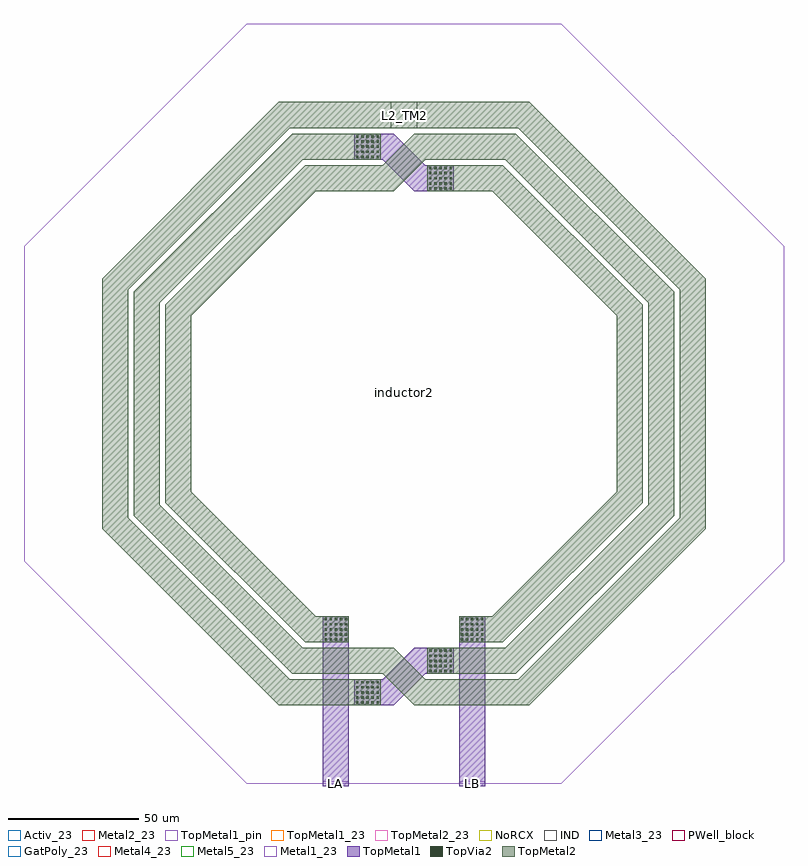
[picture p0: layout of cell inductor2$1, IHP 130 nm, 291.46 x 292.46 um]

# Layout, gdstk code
import gdstk
lib = gdstk.Library(unit=1e-6, precision=1e-09)
def R(c, l, rs):  # rectangles x0, y0, x1, y1
    for r in rs: c.add(gdstk.rectangle(r[:2], r[2:], *l))
def A(c, l, x, y, w, h, nx, ny, dx, dy):  # array of equal rectangles
    R(c, l, [(x+i*dx, y+j*dy, x+i*dx+w, y+j*dy+h) for i in range(nx) for j in range(ny)])
def P(c, l, *ps):  # polygons
    for p in ps: c.add(gdstk.Polygon(p, *l))
Activ_23 = (1, 23)
GatPoly_23 = (5, 23)
Metal1_23 = (8, 23)
Metal2_23 = (10, 23)
IND = (27, 0)
Metal3_23 = (30, 23)
PWell_block = (46, 21)
Metal4_23 = (50, 23)
Metal5_23 = (67, 23)
TopMetal1 = (126, 0)
TopMetal1_pin = (126, 2)
TopMetal1_23 = (126, 23)
TopVia2 = (133, 0)
TopMetal2 = (134, 0)
TopMetal2_23 = (134, 23)
NoRCX = (148, 0)

inductor2_1 = lib.new_cell('inductor2$1')
P(inductor2_1, Activ_23, [(-60.36,0),(-145.73,85.37),(-145.73,206.09),(-60.36,291.46),(60.36,291.46),(145.73,206.09),(145.73,85.37),(60.36,0)])
P(inductor2_1, GatPoly_23, [(-60.36,0),(-145.73,85.37),(-145.73,206.09),(-60.36,291.46),(60.36,291.46),(145.73,206.09),(145.73,85.37),(60.36,0)])
P(inductor2_1, Metal1_23, [(-60.36,0),(-145.73,85.37),(-145.73,206.09),(-60.36,291.46),(60.36,291.46),(145.73,206.09),(145.73,85.37),(60.36,0)])
P(inductor2_1, Metal2_23, [(-60.36,0),(-145.73,85.37),(-145.73,206.09),(-60.36,291.46),(60.36,291.46),(145.73,206.09),(145.73,85.37),(60.36,0)])
R(inductor2_1, IND, [(-5.01,251.43,5.01,261.45)])
P(inductor2_1, Metal3_23, [(-60.36,0),(-145.73,85.37),(-145.73,206.09),(-60.36,291.46),(60.36,291.46),(145.73,206.09),(145.73,85.37),(60.36,0)])
P(inductor2_1, PWell_block, [(-60.36,0),(-145.73,85.37),(-145.73,206.09),(-60.36,291.46),(60.36,291.46),(145.73,206.09),(145.73,85.37),(60.36,0)])
P(inductor2_1, Metal4_23, [(-60.36,0),(-145.73,85.37),(-145.73,206.09),(-60.36,291.46),(60.36,291.46),(145.73,206.09),(145.73,85.37),(60.36,0)])
P(inductor2_1, Metal5_23, [(-60.36,0),(-145.73,85.37),(-145.73,206.09),(-60.36,291.46),(60.36,291.46),(145.73,206.09),(145.73,85.37),(60.36,0)])
P(inductor2_1, TopMetal1, [(4,227.2),(-8.12,239.32),(-19.01,239.32),(-19.01,249.32),(-4,249.32),(8.12,237.2),(19.01,237.2),(19.01,227.2)],
  [(-19.01,30),(-19.01,40),(-8.13,40),(3.97,52.1),(19.02,52.1),(19.02,42.1),(8.12,42.1),(-3.98,30)])
R(inductor2_1, TopMetal1_pin, [(-31.11,-1,-21.11,1), (21.11,-1,31.11,1)])
P(inductor2_1, TopMetal1_23, [(-60.36,0),(-145.73,85.37),(-145.73,206.09),(-60.36,291.46),(60.36,291.46),(145.73,206.09),(145.73,85.37),(60.36,0)])
A(inductor2_1, TopVia2, -18.38, 30.63, 0.9, 0.9, 5, 5, 1.96, 1.96)
A(inductor2_1, TopVia2, 9.65, 42.73, 0.9, 0.9, 5, 5, 1.96, 1.96)
A(inductor2_1, TopVia2, -30.48, 54.83, 0.9, 0.9, 5, 5, 1.96, 1.96)
A(inductor2_1, TopVia2, 21.74, 54.83, 0.9, 0.9, 5, 5, 1.96, 1.96)
A(inductor2_1, TopVia2, 9.64, 227.83, 0.9, 0.9, 5, 5, 1.96, 1.96)
A(inductor2_1, TopVia2, -18.38, 239.93, 0.9, 0.9, 5, 5, 1.96, 1.96)
R(inductor2_1, TopMetal2, [(-9.01,251.44,9.01,261.44)])
P(inductor2_1, TopMetal2, [(21.11,54.2),(21.11,64.2),(33.755,64.2),(81.5,111.945),(81.5,179.455),(33.755,227.2),(9.01,227.2),(9.01,237.2),(37.905,237.2),(91.5,183.605),(91.5,107.795),(37.905,54.2)],
  [(-37.905,54.2),(-91.5,107.795),(-91.5,183.605),(-37.905,237.2),(-9.01,237.2),(-9.01,227.2),(-33.755,227.2),(-81.5,179.455),(-81.5,111.945),(-33.755,64.2),(-21.11,64.2),(-21.11,54.2)],
  [(-9.01,227.2),(-9.01,237.2),(-8.12,237.2),(4,249.32),(9.01,249.32),(9.01,239.32),(8.15,239.32),(-3.97,227.2)],
  [(9.01,42.1),(9.01,52.1),(38.77,52.1),(93.61,106.94),(93.61,184.48),(38.77,239.32),(9.01,239.32),(9.01,249.32),(42.92,249.32),(103.61,188.63),(103.61,102.79),(42.92,42.1)],
  [(-42.92,42.1),(-103.61,102.79),(-103.61,188.63),(-42.92,249.32),(-9.01,249.32),(-9.01,239.32),(-38.77,239.32),(-93.61,184.48),(-93.61,106.94),(-38.77,52.1),(-9.01,52.1),(-9.01,42.1)],
  [(9.01,30),(9.01,40),(43.79,40),(105.72,101.93),(105.72,189.51),(43.79,251.44),(9.01,251.44),(9.01,261.44),(47.94,261.44),(115.72,193.66),(115.72,97.78),(47.94,30)],
  [(-47.94,30),(-115.72,97.78),(-115.72,193.66),(-47.94,261.44),(-9.01,261.44),(-9.01,251.44),(-43.79,251.44),(-105.72,189.51),(-105.72,101.93),(-43.79,40),(-9.01,40),(-9.01,30)],
  [(3.98,30),(-8.12,42.1),(-9.01,42.1),(-9.01,52.1),(-3.97,52.1),(8.13,40),(9.01,40),(9.01,30)])
P(inductor2_1, TopMetal2_23, [(-60.36,0),(-145.73,85.37),(-145.73,206.09),(-60.36,291.46),(60.36,291.46),(145.73,206.09),(145.73,85.37),(60.36,0)])
P(inductor2_1, NoRCX, [(-60.36,0),(-145.73,85.37),(-145.73,206.09),(-60.36,291.46),(60.36,291.46),(145.73,206.09),(145.73,85.37),(60.36,0)])
inductor2_1.add(gdstk.FlexPath([(26.11,-1),(26.11,64.2)], 10, ends="flush", simple_path=True, layer=126, datatype=0))  # TopMetal1
inductor2_1.add(gdstk.FlexPath([(-26.11,-1),(-26.11,64.2)], 10, ends="flush", simple_path=True, layer=126, datatype=0))  # TopMetal1
inductor2_1.add(gdstk.Label('L2_TM2', (0,256.44), layer=63, texttype=0))
inductor2_1.add(gdstk.Label('l=3n', (0,259.773), layer=63, texttype=0))
inductor2_1.add(gdstk.Label('r=1m', (0,253.107), layer=63, texttype=0))
inductor2_1.add(gdstk.Label('LB', (26.11,0), layer=63, texttype=0))
inductor2_1.add(gdstk.Label('LA', (-26.11,0), layer=63, texttype=0))
inductor2_1.add(gdstk.Label('inductor2', (0,150.023), layer=63, texttype=0))

lib.write_gds('inductor2_1.gds')
